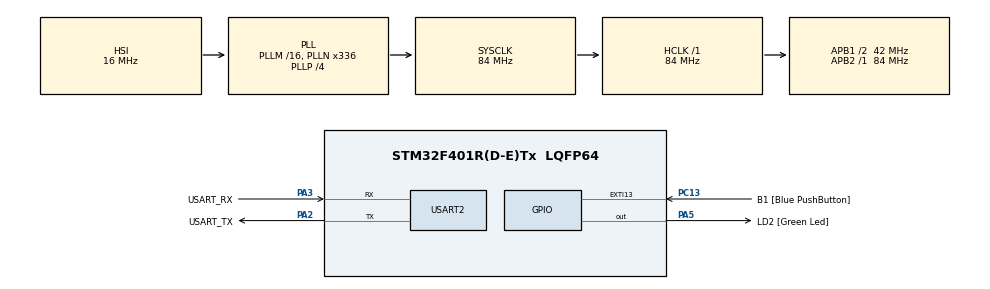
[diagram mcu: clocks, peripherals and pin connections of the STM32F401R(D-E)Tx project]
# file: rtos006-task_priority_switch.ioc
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FREERTOS.Tasks01=simpleTask,0,128,StartSimpleTask,Default,NULL,Dynamic,NULL,NULL;complexTask,-1,128,StartComplexTask,Default,NULL,Dynamic,NULL,NULL
Mcu.Family=STM32F4
Mcu.Name=STM32F401R(D-E)Tx
Mcu.Package=LQFP64
NVIC.EXTI15_10_IRQn=true\:5\:0\:false\:false\:true\:true\:true\:true
NVIC.PriorityGroup=NVIC_PRIORITYGROUP_4
NVIC.TIM1_UP_TIM10_IRQn=true\:0\:0\:false\:false\:true\:false\:false\:true
NVIC.TimeBase=TIM1_UP_TIM10_IRQn
NVIC.TimeBaseIP=TIM1
PA13.GPIO_Label=TMS
PA13.Mode=Serial_Wire
PA13.Signal=SYS_JTMS-SWDIO
PA14.GPIO_Label=TCK
PA14.Mode=Serial_Wire
PA14.Signal=SYS_JTCK-SWCLK
PA2.GPIO_Label=USART_TX
PA2.GPIO_Mode=GPIO_MODE_AF_PP
PA2.GPIO_PuPd=GPIO_NOPULL
PA2.GPIO_Speed=GPIO_SPEED_FREQ_LOW
PA2.Mode=Asynchronous
PA2.Signal=USART2_TX
PA3.GPIO_Label=USART_RX
PA3.GPIO_Mode=GPIO_MODE_AF_PP
PA3.GPIO_PuPd=GPIO_NOPULL
PA3.GPIO_Speed=GPIO_SPEED_FREQ_LOW
PA3.Mode=Asynchronous
PA3.Signal=USART2_RX
PA5.GPIO_Label=LD2 [Green Led]
PA5.GPIO_Mode=GPIO_MODE_OUTPUT_PP
PA5.GPIO_PuPd=GPIO_NOPULL
PA5.GPIO_Speed=GPIO_SPEED_FREQ_LOW
PA5.Signal=GPIO_Output
PB3.GPIO_Label=SWO
PB3.Signal=SYS_JTDO-SWO
PC13-ANTI_TAMP.GPIO_Label=B1 [Blue PushButton]
PC13-ANTI_TAMP.GPIO_ModeDefaultEXTI=GPIO_MODE_IT_FALLING
PC13-ANTI_TAMP.GPIO_PuPd=GPIO_NOPULL
PC13-ANTI_TAMP.Signal=GPXTI13
PC14-OSC32_IN.Mode=LSE-External-Oscillator
PC14-OSC32_IN.Signal=RCC_OSC32_IN
PC15-OSC32_OUT.Mode=LSE-External-Oscillator
PC15-OSC32_OUT.Signal=RCC_OSC32_OUT
PH0\ -\ OSC_IN.Mode=HSE-External-Clock-Source
PH0\ -\ OSC_IN.Signal=RCC_OSC_IN
PH1\ -\ OSC_OUT.Mode=HSE-External-Clock-Source
PH1\ -\ OSC_OUT.Signal=RCC_OSC_OUT
ProjectManager.HeapSize=0x200
ProjectManager.StackSize=0x400
ProjectManager.TargetToolchain=STM32CubeIDE
RCC.48MHZClocksFreq_Value=48000000
RCC.AHBFreq_Value=84000000
RCC.APB1CLKDivider=RCC_HCLK_DIV2
RCC.APB1Freq_Value=42000000
RCC.APB1TimFreq_Value=84000000
RCC.APB2Freq_Value=84000000
RCC.APB2TimFreq_Value=84000000
RCC.CortexFreq_Value=84000000
RCC.HCLKFreq_Value=84000000
RCC.HSE_VALUE=8000000
RCC.HSI_VALUE=16000000
RCC.PLLN=336
RCC.PLLP=RCC_PLLP_DIV4
RCC.PLLQ=7
RCC.SYSCLKFreq_VALUE=84000000
RCC.SYSCLKSource=RCC_SYSCLKSOURCE_PLLCLK
RCC.VCOOutputFreq_Value=336000000
USART2.VirtualMode=VM_ASYNC
VP_FREERTOS_VS_CMSIS_V1.Mode=CMSIS_V1
VP_SYS_VS_tim1.Mode=TIM1
board=NUCLEO-F401RE

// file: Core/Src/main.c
/* USER CODE BEGIN Header */
/**
 ******************************************************************************
 * @file           : main.c
 * @brief          : Main program body
 ******************************************************************************
 * @attention
 *
 * <h2><center>&copy; Copyright (c) 2020 STMicroelectronics.
 * All rights reserved.</center></h2>
 *
 * This software component is licensed by ST under BSD 3-Clause license,
 * the "License"; You may not use this file except in compliance with the
 * License. You may obtain a copy of the License at:
 *                        opensource.org/licenses/BSD-3-Clause
 *
 ******************************************************************************
 */
/* USER CODE END Header */

#include "main.h"
#include "cmsis_os.h"

/* USER CODE BEGIN Includes */
#include <string.h>
/* USER CODE END Includes */

UART_HandleTypeDef huart2;

osThreadId simpleTaskHandle;
osThreadId complexTaskHandle;
/* USER CODE BEGIN PV */
volatile uint8_t swap_priorities = 0;
/* USER CODE END PV */

void SystemClock_Config(void);
static void MX_GPIO_Init(void);
static void MX_USART2_UART_Init(void);
void StartSimpleTask(void const *argument);
void StartComplexTask(void const *argument);

int main(void) {

	/* MCU Configuration--------------------------------------------------------*/

	/* Reset of all peripherals, Initializes the Flash interface and the Systick. */
	HAL_Init();

	/* Configure the system clock */
	SystemClock_Config();

	/* Initialize all configured peripherals */
	MX_GPIO_Init();
	MX_USART2_UART_Init();

	/* Create the thread(s) */
	/* definition and creation of simpleTask */
	osThreadDef(simpleTask, StartSimpleTask, osPriorityNormal, 0, 128);
	simpleTaskHandle = osThreadCreate(osThread(simpleTask), NULL);

	/* definition and creation of complexTask */
	osThreadDef(complexTask, StartComplexTask, osPriorityBelowNormal, 0, 128);
	complexTaskHandle = osThreadCreate(osThread(complexTask), NULL);

	/* Start scheduler */
	osKernelStart();

	osMailCreate(queue_def, thread_id)
	/* We should never get here as control is now taken by the scheduler */

	/* Infinite loop */
	while (1) {

	}
}

void SystemClock_Config(void) {
	RCC_OscInitTypeDef RCC_OscInitStruct = { 0 };
	RCC_ClkInitTypeDef RCC_ClkInitStruct = { 0 };

	/** Configure the main internal regulator output voltage
	 */
	__HAL_RCC_PWR_CLK_ENABLE();
	__HAL_PWR_VOLTAGESCALING_CONFIG(PWR_REGULATOR_VOLTAGE_SCALE2);
	/** Initializes the CPU, AHB and APB busses clocks
	 */
	RCC_OscInitStruct.OscillatorType = RCC_OSCILLATORTYPE_HSI;
	RCC_OscInitStruct.HSIState = RCC_HSI_ON;
	RCC_OscInitStruct.HSICalibrationValue = RCC_HSICALIBRATION_DEFAULT;
	RCC_OscInitStruct.PLL.PLLState = RCC_PLL_ON;
	RCC_OscInitStruct.PLL.PLLSource = RCC_PLLSOURCE_HSI;
	RCC_OscInitStruct.PLL.PLLM = 16;
	RCC_OscInitStruct.PLL.PLLN = 336;
	RCC_OscInitStruct.PLL.PLLP = RCC_PLLP_DIV4;
	RCC_OscInitStruct.PLL.PLLQ = 7;
	if (HAL_RCC_OscConfig(&RCC_OscInitStruct) != HAL_OK) {
		Error_Handler();
	}
	/** Initializes the CPU, AHB and APB busses clocks
	 */
	RCC_ClkInitStruct.ClockType = RCC_CLOCKTYPE_HCLK | RCC_CLOCKTYPE_SYSCLK
			| RCC_CLOCKTYPE_PCLK1 | RCC_CLOCKTYPE_PCLK2;
	RCC_ClkInitStruct.SYSCLKSource = RCC_SYSCLKSOURCE_PLLCLK;
	RCC_ClkInitStruct.AHBCLKDivider = RCC_SYSCLK_DIV1;
	RCC_ClkInitStruct.APB1CLKDivider = RCC_HCLK_DIV2;
	RCC_ClkInitStruct.APB2CLKDivider = RCC_HCLK_DIV1;

	if (HAL_RCC_ClockConfig(&RCC_ClkInitStruct, FLASH_LATENCY_2) != HAL_OK) {
		Error_Handler();
	}
}

static void MX_USART2_UART_Init(void) {

	huart2.Instance = USART2;
	huart2.Init.BaudRate = 115200;
	huart2.Init.WordLength = UART_WORDLENGTH_8B;
	huart2.Init.StopBits = UART_STOPBITS_1;
	huart2.Init.Parity = UART_PARITY_NONE;
	huart2.Init.Mode = UART_MODE_TX_RX;
	huart2.Init.HwFlowCtl = UART_HWCONTROL_NONE;
	huart2.Init.OverSampling = UART_OVERSAMPLING_16;
	if (HAL_UART_Init(&huart2) != HAL_OK) {
		Error_Handler();
	}

}

static void MX_GPIO_Init(void) {
	GPIO_InitTypeDef GPIO_InitStruct = { 0 };

	/* GPIO Ports Clock Enable */
	__HAL_RCC_GPIOC_CLK_ENABLE();
	__HAL_RCC_GPIOH_CLK_ENABLE();
	__HAL_RCC_GPIOA_CLK_ENABLE();
	__HAL_RCC_GPIOB_CLK_ENABLE();

	/*Configure GPIO pin Output Level */
	HAL_GPIO_WritePin(LD2_GPIO_Port, LD2_Pin, GPIO_PIN_RESET);

	/*Configure GPIO pin : B1_Pin */
	GPIO_InitStruct.Pin = B1_Pin;
	GPIO_InitStruct.Mode = GPIO_MODE_IT_FALLING;
	GPIO_InitStruct.Pull = GPIO_NOPULL;
	HAL_GPIO_Init(B1_GPIO_Port, &GPIO_InitStruct);

	/*Configure GPIO pin : LD2_Pin */
	GPIO_InitStruct.Pin = LD2_Pin;
	GPIO_InitStruct.Mode = GPIO_MODE_OUTPUT_PP;
	GPIO_InitStruct.Pull = GPIO_NOPULL;
	GPIO_InitStruct.Speed = GPIO_SPEED_FREQ_LOW;
	HAL_GPIO_Init(LD2_GPIO_Port, &GPIO_InitStruct);

	/* EXTI interrupt init*/
	HAL_NVIC_SetPriority(EXTI15_10_IRQn, 5, 0);
	HAL_NVIC_EnableIRQ(EXTI15_10_IRQn);

}

/* USER CODE BEGIN 4 */
void HAL_GPIO_EXTI_Callback(uint16_t GPIO_Pin) {
	static uint32_t t_filtro = 0;

	if (HAL_GetTick() - t_filtro >= 200){
		t_filtro = HAL_GetTick();
		swap_priorities = SET;
	}
}
/* USER CODE END 4 */

void StartSimpleTask(void const *argument) {
	/* USER CODE BEGIN 5 */
	char msg[] = "Rodando a Simple Task\n";
	/* Infinite loop */
	for (;;) {
		HAL_UART_Transmit(&huart2, (uint8_t*) msg, strlen(msg), HAL_MAX_DELAY);

		if (swap_priorities) {
			// Quando a Simple Task estiver rodando, ela estará com prioridade normal
			swap_priorities = RESET;
			osThreadSetPriority(simpleTaskHandle, osPriorityLow);
			osThreadSetPriority(complexTaskHandle, osPriorityNormal);
		}
	}
	/* USER CODE END 5 */
}

void StartComplexTask(void const *argument) {
	/* USER CODE BEGIN StartComplexTask */

	char msg[] = "Rodando a Complex Task\n";
	/* Infinite loop */
	for (;;) {
		HAL_UART_Transmit(&huart2, (uint8_t*) msg, strlen(msg), HAL_MAX_DELAY);

		if (swap_priorities) {
			// Quando a Simple Task estiver rodando, ela estará com prioridade normal
			swap_priorities = RESET;
			osThreadSetPriority(complexTaskHandle, osPriorityLow);
			osThreadSetPriority(simpleTaskHandle, osPriorityNormal);
		}
	}
	/* USER CODE END StartComplexTask */
}

void HAL_TIM_PeriodElapsedCallback(TIM_HandleTypeDef *htim) {
	if (htim->Instance == TIM1) {
		HAL_IncTick();
	}
}

void Error_Handler(void) {
}

/************************ (C) COPYRIGHT STMicroelectronics *****END OF FILE****/
